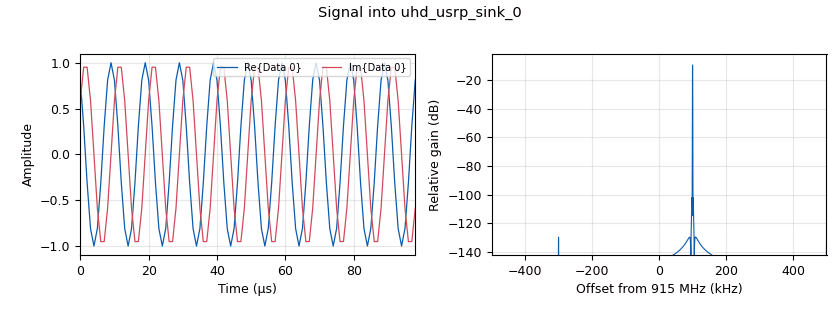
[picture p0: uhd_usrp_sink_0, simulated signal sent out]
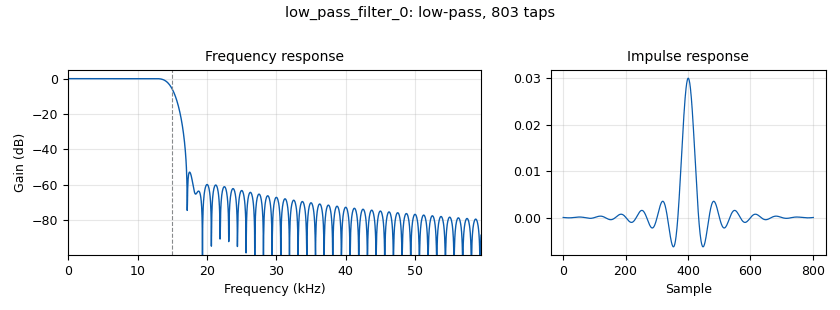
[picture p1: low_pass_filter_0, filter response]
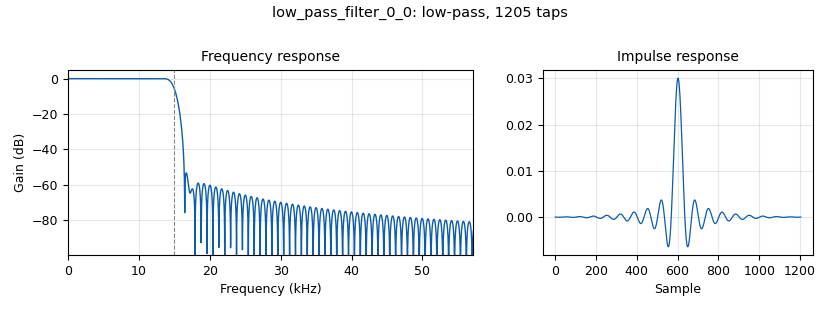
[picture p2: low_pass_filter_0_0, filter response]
options:
  parameters:
    author: ebaum
    generate_options: qt_gui
    id: top_block
    output_language: python
    title: Not titled yet
  states: {}

blocks:
- name: carrier_freq
  id: variable
  parameters:
    value: 100e3
  states: {}
- name: center_freq
  id: variable
  parameters:
    value: 915e6
  states: {}
- name: cutoff
  id: variable_qtgui_range
  parameters:
    orient: Qt.Horizontal
    start: '5000'
    step: (filter_samp_rate-5000)/20
    stop: filter_samp_rate
    value: filter_samp_rate
  states: {}
- name: filter_samp_rate
  id: variable
  parameters:
    value: fsk_deviation_hz * 3
  states: {}
- name: fsk_deviation_hz
  id: variable_qtgui_entry
  parameters:
    gui_hint: 1,3,1,1
    type: real
    value: 5e3
  states: {}
- name: fsk_width_hz
  id: variable
  parameters:
    value: '500'
  states: {}
- name: rx_gain
  id: variable
  parameters:
    value: '80'
  states: {}
- name: samp_rate
  id: variable
  parameters:
    value: 1e6
  states: {}
- name: scatter_center_freq
  id: variable
  parameters:
    value: 200e3
  states: {state: disabled}
- name: scatter_center_freq
  id: variable_qtgui_entry
  parameters:
    type: real
    value: 200.125e3
  states: {}
- name: squelch_lvl_neg
  id: variable_qtgui_entry
  parameters:
    label: squelch level (-dB)
    type: int
    value: '35'
  states: {}
- name: tx_gain
  id: variable
  parameters:
    value: '8'
  states: {}
- name: tx_samp_rate
  id: variable
  parameters:
    value: 1e6
  states: {}
- name: analog_const_source_x_0
  id: analog_const_source_x
  parameters:
    const: '1.5'
    type: float
  states: {state: disabled}
- name: analog_const_source_x_0_0
  id: analog_const_source_x
  parameters:
    const: '-1.5'
    type: float
  states: {state: disabled}
- name: analog_pwr_squelch_xx_0
  id: analog_pwr_squelch_xx
  parameters:
    alpha: '1e-4'
    gate: 'True'
    ramp: '0'
    threshold: '-squelch_lvl_neg'
    type: complex
  states: {}
- name: analog_quadrature_demod_cf_0
  id: analog_quadrature_demod_cf
  parameters:
    gain: '1'
  states: {state: disabled}
- name: analog_quadrature_demod_cf_1
  id: analog_quadrature_demod_cf
  parameters:
    gain: '1'
  states: {state: disabled}
- name: analog_sig_source_x_0
  id: analog_sig_source_x
  parameters:
    amp: '1'
    freq: carrier_freq
    offset: '0'
    phase: '0'
    samp_rate: tx_samp_rate
    type: complex
    waveform: analog.GR_COS_WAVE
  states: {}
- name: analog_sig_source_x_1
  id: analog_sig_source_x
  parameters:
    amp: '1'
    freq: '-(carrier_freq + scatter_center_freq)'
    offset: '0'
    phase: '0'
    samp_rate: samp_rate
    type: complex
    waveform: analog.GR_COS_WAVE
  states: {}
- name: blocks_add_const_vxx_0
  id: blocks_add_const_vxx
  parameters:
    const: '-1.5'
    type: float
  states: {state: disabled}
- name: blocks_add_const_vxx_0_0
  id: blocks_add_const_vxx
  parameters:
    const: '1.5'
    type: float
  states: {state: disabled}
- name: blocks_file_sink_0
  id: blocks_file_sink
  parameters:
    file: /Users/ebaum/Documents/capstone/repo/processing/hamming-test/hamming-preamb-inc-lp-s15k.iq
    type: complex
  states: {state: disabled}
- name: blocks_multiply_const_vxx_0
  id: blocks_multiply_const_vxx
  parameters:
    const: '0.5'
    type: float
  states: {state: disabled}
- name: blocks_multiply_const_vxx_0_0
  id: blocks_multiply_const_vxx
  parameters:
    const: '0.5'
    type: float
  states: {state: disabled}
- name: blocks_multiply_xx_0
  id: blocks_multiply_xx
  parameters:
    type: complex
  states: {}
- name: blocks_null_source_0
  id: blocks_null_source
  parameters:
    type: complex
  states: {state: disabled}
- name: low_pass_filter_0
  id: low_pass_filter
  parameters:
    comment: variable filter
    cutoff_freq: cutoff
    decim: int(samp_rate/filter_samp_rate)
    gain: '1'
    samp_rate: samp_rate
    type: fir_filter_ccf
    width: cutoff/5
    win: firdes.WIN_HAMMING
  states: {}
- name: low_pass_filter_0_0
  id: low_pass_filter
  parameters:
    comment: fixed filter
    cutoff_freq: 15e3
    decim: int(samp_rate/filter_samp_rate)
    gain: '1'
    samp_rate: samp_rate
    type: fir_filter_ccf
    width: 2e3
    win: firdes.WIN_HAMMING
  states: {}
- name: qtgui_freq_sink_x_0
  id: qtgui_freq_sink_x
  parameters:
    bw: filter_samp_rate
    ctrlpanel: 'True'
    fc: center_freq+scatter_center_freq+carrier_freq
    fftsize: '1024'
    nconnections: '2'
    type: complex
    wintype: firdes.WIN_BLACKMAN_hARRIS
  states: {}
- name: qtgui_freq_sink_x_1
  id: qtgui_freq_sink_x
  parameters:
    bw: samp_rate
    ctrlpanel: 'True'
    fc: '0'
    fftsize: '1024'
    type: complex
    wintype: firdes.WIN_BLACKMAN_hARRIS
  states: {}
- name: qtgui_time_sink_x_0
  id: qtgui_time_sink_x
  parameters:
    ctrlpanel: 'True'
    nconnections: '4'
    size: '256'
    srate: filter_samp_rate
    type: float
    ymax: '3'
    ymin: '-3'
  states: {state: disabled}
- name: qtgui_waterfall_sink_x_0
  id: qtgui_waterfall_sink_x
  parameters:
    bw: filter_samp_rate
    fc: center_freq+scatter_center_freq+carrier_freq
    fftsize: '256'
    type: complex
    update_time: '0.001'
    wintype: firdes.WIN_BLACKMAN_hARRIS
  states: {}
- name: uhd_usrp_sink_0
  id: uhd_usrp_sink
  parameters:
    ant0: TX/RX
    center_freq0: center_freq
    dev_args: '""'
    gain0: tx_gain
    len_tag_name: ''
    norm_gain0: 'False'
    samp_rate: tx_samp_rate
    sync: sync
    type: fc32
  states: {}
- name: uhd_usrp_source_0
  id: uhd_usrp_source
  parameters:
    ant0: RX2
    center_freq0: center_freq
    dc_offs_enb0: '""'
    dev_args: '""'
    gain0: rx_gain
    iq_imbal_enb0: '""'
    norm_gain0: 'False'
    samp_rate: samp_rate
    sync: sync
    type: fc32
  states: {}

connections:
- [analog_const_source_x_0, '0', qtgui_time_sink_x_0, '2']
- [analog_const_source_x_0_0, '0', qtgui_time_sink_x_0, '3']
- [analog_pwr_squelch_xx_0, '0', low_pass_filter_0, '0']
- [analog_pwr_squelch_xx_0, '0', low_pass_filter_0_0, '0']
- [analog_quadrature_demod_cf_0, '0', blocks_multiply_const_vxx_0, '0']
- [analog_quadrature_demod_cf_1, '0', blocks_multiply_const_vxx_0_0, '0']
- [analog_sig_source_x_0, '0', uhd_usrp_sink_0, '0']
- [analog_sig_source_x_1, '0', blocks_multiply_xx_0, '1']
- [blocks_add_const_vxx_0, '0', qtgui_time_sink_x_0, '0']
- [blocks_add_const_vxx_0_0, '0', qtgui_time_sink_x_0, '1']
- [blocks_multiply_const_vxx_0, '0', blocks_add_const_vxx_0, '0']
- [blocks_multiply_const_vxx_0_0, '0', blocks_add_const_vxx_0_0, '0']
- [blocks_multiply_xx_0, '0', analog_pwr_squelch_xx_0, '0']
- [blocks_multiply_xx_0, '0', qtgui_freq_sink_x_1, '0']
- [blocks_null_source_0, '0', qtgui_freq_sink_x_0, '1']
- [low_pass_filter_0, '0', analog_quadrature_demod_cf_0, '0']
- [low_pass_filter_0, '0', qtgui_freq_sink_x_0, '0']
- [low_pass_filter_0, '0', qtgui_waterfall_sink_x_0, '0']
- [low_pass_filter_0_0, '0', analog_quadrature_demod_cf_1, '0']
- [low_pass_filter_0_0, '0', blocks_file_sink_0, '0']
- [low_pass_filter_0_0, '0', qtgui_freq_sink_x_0, '1']
- [uhd_usrp_source_0, '0', blocks_multiply_xx_0, '0']

metadata:
  file_format: 1
